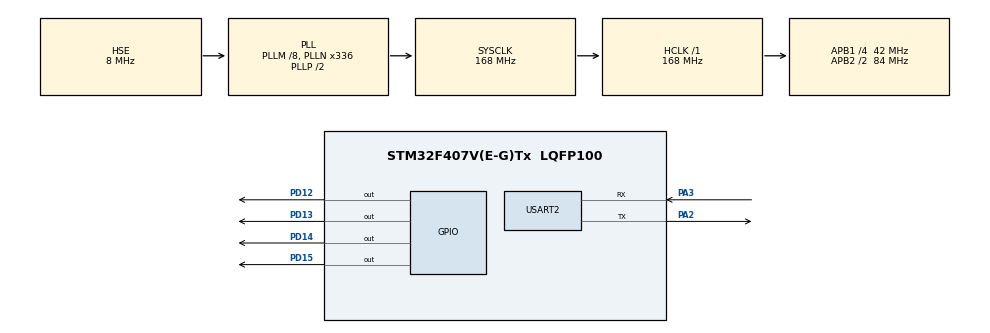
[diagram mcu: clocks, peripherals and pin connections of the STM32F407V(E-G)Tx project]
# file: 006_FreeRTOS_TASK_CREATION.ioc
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FREERTOS.Tasks01=defaultTask,24,128,StartDefaultTask,Default,NULL,Dynamic,NULL,NULL
Mcu.Family=STM32F4
Mcu.Name=STM32F407V(E-G)Tx
Mcu.Package=LQFP100
NVIC.PriorityGroup=NVIC_PRIORITYGROUP_4
NVIC.TIM8_TRG_COM_TIM14_IRQn=true\:15\:0\:false\:false\:true\:false\:false\:true\:true
NVIC.TimeBase=TIM8_TRG_COM_TIM14_IRQn
NVIC.TimeBaseIP=TIM14
NVIC.USART2_IRQn=true\:5\:0\:false\:false\:true\:true\:true\:true\:true
PA2.Mode=Asynchronous
PA2.Signal=USART2_TX
PA3.Mode=Asynchronous
PA3.Signal=USART2_RX
PD12.Signal=GPIO_Output
PD13.Signal=GPIO_Output
PD14.Signal=GPIO_Output
PD15.Signal=GPIO_Output
PH0-OSC_IN.Mode=HSE-External-Oscillator
PH0-OSC_IN.Signal=RCC_OSC_IN
PH1-OSC_OUT.Mode=HSE-External-Oscillator
PH1-OSC_OUT.Signal=RCC_OSC_OUT
ProjectManager.HeapSize=0x200
ProjectManager.StackSize=0x400
ProjectManager.TargetToolchain=STM32CubeIDE
RCC.48MHZClocksFreq_Value=48000000
RCC.AHBFreq_Value=168000000
RCC.APB1CLKDivider=RCC_HCLK_DIV4
RCC.APB1Freq_Value=42000000
RCC.APB1TimFreq_Value=84000000
RCC.APB2CLKDivider=RCC_HCLK_DIV2
RCC.APB2Freq_Value=84000000
RCC.APB2TimFreq_Value=168000000
RCC.CortexFreq_Value=168000000
RCC.HCLKFreq_Value=168000000
RCC.HSE_VALUE=8000000
RCC.HSI_VALUE=16000000
RCC.LSE_VALUE=32768
RCC.PLLM=8
RCC.PLLN=336
RCC.PLLQ=7
RCC.PLLSourceVirtual=RCC_PLLSOURCE_HSE
RCC.SYSCLKFreq_VALUE=168000000
RCC.SYSCLKSource=RCC_SYSCLKSOURCE_PLLCLK
RCC.VCOOutputFreq_Value=336000000
USART2.VirtualMode=VM_ASYNC
VP_FREERTOS_VS_CMSIS_V2.Mode=CMSIS_V2
VP_SYS_VS_tim14.Mode=TIM14
board=STM32F407G-DISC1

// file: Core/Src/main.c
/* USER CODE BEGIN Header */
/**
  ******************************************************************************
  * @file           : main.c
  * @brief          : Main program body
  ******************************************************************************
  * @attention
  *
  * Copyright (c) 2023 STMicroelectronics.
  * All rights reserved.
  *
  * This software is licensed under terms that can be found in the LICENSE file
  * in the root directory of this software component.
  * If no LICENSE file comes with this software, it is provided AS-IS.
  *
  ******************************************************************************
  */
/* USER CODE END Header */
#include "main.h"

/* USER CODE BEGIN Includes */
#include "FreeRTOS.h"
#include <string.h>
#include "task.h"
/* USER CODE END Includes */

/* USER CODE BEGIN PD */
#define mainDELAY_LOOP_COUNT 4000
/* USER CODE END PD */

UART_HandleTypeDef huart2;

/* Definitions for defaultTask */

void SystemClock_Config(void);
static void MX_GPIO_Init(void);
static void MX_USART2_UART_Init(void);
void StartDefaultTask(void *argument);

/* USER CODE BEGIN 0 */
void aTaskFunction(void *pvParameters)
{
	/* Variables can be declared just as per a normal function. Each instance of a task
	created using this example function will have its own copy of the lVariableExample
	variable. This would not be true if the variable was declared static – in which case
	only one copy of the variable would exist, and this copy would be shared by each
	created instance of the task. (The prefixes added to variable names are described in
	section 1.5, Data Types and Coding Style Guide.) */
	int32_t lVariableExample = 0;
	 /* A task will normally be implemented as an infinite loop. */
	 for( ;; )
	 {
	 /* The code to implement the task functionality will go here. */
	 }
	 /* Should the task implementation ever break out of the above loop, then the task
	 must be deleted before reaching the end of its implementing function. The NULL
	 parameter passed to the vTaskDelete() API function indicates that the task to be
	 deleted is the calling (this) task. The convention used to name API functions is
	 described in section 0, Projects that use a FreeRTOS version older than V9.0.0
	must build one of the heap_n.c files. From FreeRTOS V9.0.0 a heap_n.c file is only
	required if configSUPPORT_DYNAMIC_ALLOCATION is set to 1 in FreeRTOSConfig.h or if
	configSUPPORT_DYNAMIC_ALLOCATION is left undefined. Refer to Chapter 2, Heap Memory
	Management, for more information.
	Data Types and Coding Style Guide. */
	 vTaskDelete( NULL );
}
void vTask1(void *pvParameters)
{
	const char *pcTaskName = "Task 1 is running\r\n";
	volatile uint32_t ul;		/* volatile to ensure ul is not optimized away. */

	/* As per most tasks, this task is implemented in an infinite loop. */
	 for( ;; )
	 {
		 /* Print out the name of this task. */
		 HAL_UART_Transmit(&huart2, (uint8_t *)pcTaskName, strlen(pcTaskName), HAL_MAX_DELAY);
		 /* Delay for a period. */
		 for( ul = 0; ul < mainDELAY_LOOP_COUNT; ul++ )
		 {
		 /* This loop is just a very crude delay implementation. There is
		 nothing to do in here. Later examples will replace this crude
		 loop with a proper delay/sleep function. */
		 }
	 }
}
void vTask2(void *pvParameters)
{
	const char *pcTaskName = "Task 2 is running\r\n";
	volatile uint32_t ul;		/* volatile to ensure ul is not optimized away. */

	/* As per most tasks, this task is implemented in an infinite loop. */
	 for( ;; )
	 {
		 /* Print out the name of this task. */
		 HAL_UART_Transmit(&huart2, (uint8_t *)pcTaskName, strlen(pcTaskName), HAL_MAX_DELAY);
		 /* Delay for a period. */
		 for( ul = 0; ul < mainDELAY_LOOP_COUNT; ul++ )
		 {
		 /* This loop is just a very crude delay implementation. There is
		 nothing to do in here. Later examples will replace this crude
		 loop with a proper delay/sleep function. */
		 }
	 }

}
/* USER CODE END 0 */

int main(void)
{

  /* MCU Configuration--------------------------------------------------------*/

  /* Reset of all peripherals, Initializes the Flash interface and the Systick. */
  HAL_Init();

  /* Configure the system clock */
  SystemClock_Config();

  /* Initialize all configured peripherals */
  MX_GPIO_Init();
  MX_USART2_UART_Init();
  /* USER CODE BEGIN 2 */
  /* Create one of the two tasks. Note that a real application should check
   the return value of the xTaskCreate() call to ensure the task was created
   successfully. */
   xTaskCreate( vTask1, /* Pointer to the function that implements the task. */
   "Task 1",/* Text name for the task. This is to facilitate
   debugging only. */
   1000, /* Stack depth - small microcontrollers will use much
   less stack than this. */
   NULL, /* This example does not use the task parameter. */
   1, /* This task will run at priority 1. */
   NULL ); /* This example does not use the task handle. */
   /* Create the other task in exactly the same way and at the same priority. */
   xTaskCreate( vTask2, "Task 2", 1000, NULL, 1, NULL );
   /* Start the scheduler so the tasks start executing. */
   vTaskStartScheduler();

   /* If all is well then main() will never reach here as the scheduler will
   now be running the tasks. If main() does reach here then it is likely that
   there was insufficient heap memory available for the idle task to be created.
   Chapter 2 provides more information on heap memory management. */
  /* USER CODE END 2 */

  /* Init scheduler */

  /* Create the thread(s) */
  /* creation of defaultTask */

  /* Start scheduler */
  /* We should never get here as control is now taken by the scheduler */
  /* Infinite loop */
  while (1)
  {

  }
}

void SystemClock_Config(void)
{
  RCC_OscInitTypeDef RCC_OscInitStruct = {0};
  RCC_ClkInitTypeDef RCC_ClkInitStruct = {0};

  /** Configure the main internal regulator output voltage
  */
  __HAL_RCC_PWR_CLK_ENABLE();
  __HAL_PWR_VOLTAGESCALING_CONFIG(PWR_REGULATOR_VOLTAGE_SCALE1);

  /** Initializes the RCC Oscillators according to the specified parameters
  * in the RCC_OscInitTypeDef structure.
  */
  RCC_OscInitStruct.OscillatorType = RCC_OSCILLATORTYPE_HSE;
  RCC_OscInitStruct.HSEState = RCC_HSE_ON;
  RCC_OscInitStruct.PLL.PLLState = RCC_PLL_ON;
  RCC_OscInitStruct.PLL.PLLSource = RCC_PLLSOURCE_HSE;
  RCC_OscInitStruct.PLL.PLLM = 8;
  RCC_OscInitStruct.PLL.PLLN = 336;
  RCC_OscInitStruct.PLL.PLLP = RCC_PLLP_DIV2;
  RCC_OscInitStruct.PLL.PLLQ = 7;
  if (HAL_RCC_OscConfig(&RCC_OscInitStruct) != HAL_OK)
  {
    Error_Handler();
  }

  /** Initializes the CPU, AHB and APB buses clocks
  */
  RCC_ClkInitStruct.ClockType = RCC_CLOCKTYPE_HCLK|RCC_CLOCKTYPE_SYSCLK
                              |RCC_CLOCKTYPE_PCLK1|RCC_CLOCKTYPE_PCLK2;
  RCC_ClkInitStruct.SYSCLKSource = RCC_SYSCLKSOURCE_PLLCLK;
  RCC_ClkInitStruct.AHBCLKDivider = RCC_SYSCLK_DIV1;
  RCC_ClkInitStruct.APB1CLKDivider = RCC_HCLK_DIV4;
  RCC_ClkInitStruct.APB2CLKDivider = RCC_HCLK_DIV2;

  if (HAL_RCC_ClockConfig(&RCC_ClkInitStruct, FLASH_LATENCY_5) != HAL_OK)
  {
    Error_Handler();
  }
}

static void MX_USART2_UART_Init(void)
{

  huart2.Instance = USART2;
  huart2.Init.BaudRate = 115200;
  huart2.Init.WordLength = UART_WORDLENGTH_8B;
  huart2.Init.StopBits = UART_STOPBITS_1;
  huart2.Init.Parity = UART_PARITY_NONE;
  huart2.Init.Mode = UART_MODE_TX_RX;
  huart2.Init.HwFlowCtl = UART_HWCONTROL_NONE;
  huart2.Init.OverSampling = UART_OVERSAMPLING_16;
  if (HAL_UART_Init(&huart2) != HAL_OK)
  {
    Error_Handler();
  }

}

static void MX_GPIO_Init(void)
{
  GPIO_InitTypeDef GPIO_InitStruct = {0};

  /* GPIO Ports Clock Enable */
  __HAL_RCC_GPIOH_CLK_ENABLE();
  __HAL_RCC_GPIOA_CLK_ENABLE();
  __HAL_RCC_GPIOD_CLK_ENABLE();

  /*Configure GPIO pin Output Level */
  HAL_GPIO_WritePin(GPIOD, GPIO_PIN_12|GPIO_PIN_13|GPIO_PIN_14|GPIO_PIN_15, GPIO_PIN_RESET);

  /*Configure GPIO pins : PD12 PD13 PD14 PD15 */
  GPIO_InitStruct.Pin = GPIO_PIN_12|GPIO_PIN_13|GPIO_PIN_14|GPIO_PIN_15;
  GPIO_InitStruct.Mode = GPIO_MODE_OUTPUT_PP;
  GPIO_InitStruct.Pull = GPIO_NOPULL;
  GPIO_InitStruct.Speed = GPIO_SPEED_FREQ_LOW;
  HAL_GPIO_Init(GPIOD, &GPIO_InitStruct);

}

void HAL_TIM_PeriodElapsedCallback(TIM_HandleTypeDef *htim)
{
  if (htim->Instance == TIM14) {
    HAL_IncTick();
  }
}

void Error_Handler(void)
{
  __disable_irq();
  while (1)
  {
  }
}
